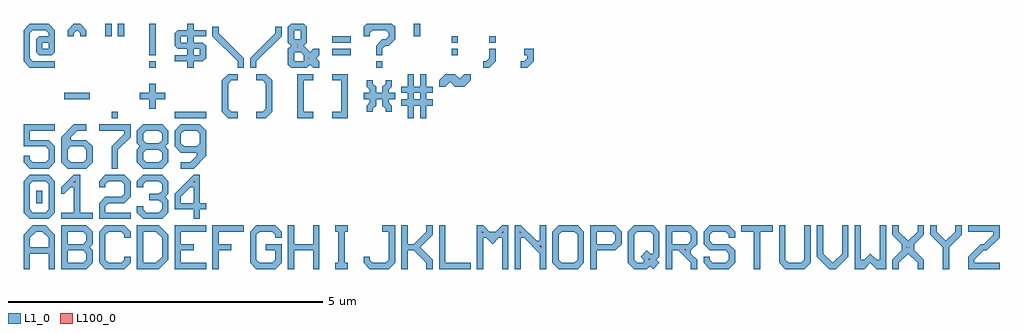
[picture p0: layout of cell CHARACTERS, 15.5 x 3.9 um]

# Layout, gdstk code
import gdstk
lib = gdstk.Library(unit=1e-6, precision=1e-09)
def R(c, l, rs):  # rectangles x0, y0, x1, y1
    for r in rs: c.add(gdstk.rectangle(r[:2], r[2:], *l))
def P(c, l, *ps):  # polygons
    for p in ps: c.add(gdstk.Polygon(p, *l))
L1_0 = (1, 0)
L100_0 = (100, 0)

c_0 = lib.new_cell('0')
R(c_0, L1_0, [(0.2,0.25,0.3,0.45)])
P(c_0, L1_0, [(0.1,0),(0,0.1),(0,0.6),(0.1,0.7),(0.4,0.7),(0.5,0.6),(0.15,0.6),(0.1,0.55),(0.1,0.15),(0.15,0.1),(0.35,0.1),(0.4,0.15),(0.4,0.55),(0.35,0.6),(0.5,0.6),(0.5,0.1),(0.4,0)])

c_8 = lib.new_cell('8')
P(c_8, L1_0, [(0.1,0),(0,0.1),(0,0.3),(0.05,0.35),(0,0.4),(0,0.6),(0.1,0.7),(0.4,0.7),(0.5,0.6),(0.15,0.6),(0.1,0.55),(0.1,0.45),(0.15,0.4),(0.35,0.4),(0.4,0.45),(0.4,0.55),(0.35,0.6),(0.5,0.6),(0.5,0.4),(0.45,0.35),(0.5,0.3),(0.15,0.3),(0.1,0.25),(0.1,0.15),(0.15,0.1),(0.35,0.1),(0.4,0.15),(0.4,0.25),(0.35,0.3),(0.5,0.3),(0.5,0.1),(0.4,0)])

c_5 = lib.new_cell('5')
P(c_5, L1_0, [(0.1,0),(0,0.1),(0,0.2),(0.1,0.2),(0.1,0.15),(0.15,0.1),(0.35,0.1),(0.4,0.15),(0.4,0.3),(0.35,0.35),(0,0.35),(0,0.7),(0.5,0.7),(0.5,0.6),(0.1,0.6),(0.1,0.45),(0.4,0.45),(0.5,0.35),(0.5,0.1),(0.4,0)])

c_2 = lib.new_cell('2')
P(c_2, L1_0, [(0,0),(0,0.25),(0.1,0.35),(0.35,0.35),(0.4,0.4),(0.4,0.55),(0.35,0.6),(0.15,0.6),(0.1,0.55),(0.1,0.5),(0,0.5),(0,0.6),(0.1,0.7),(0.4,0.7),(0.5,0.6),(0.5,0.35),(0.4,0.25),(0.15,0.25),(0.1,0.2),(0.1,0.1),(0.5,0.1),(0.5,0)])

c_y = lib.new_cell('Y')
P(c_y, L1_0, [(0.2,0),(0.2,0.35),(0,0.55),(0,0.7),(0.1,0.7),(0.1,0.6),(0.25,0.45),(0.4,0.6),(0.4,0.7),(0.5,0.7),(0.5,0.55),(0.3,0.35),(0.3,0)])

c_v = lib.new_cell('V')
P(c_v, L1_0, [(0.2,0),(0,0.2),(0,0.7),(0.1,0.7),(0.1,0.25),(0.25,0.1),(0.4,0.25),(0.4,0.7),(0.5,0.7),(0.5,0.2),(0.3,0)])

c_s = lib.new_cell('S')
P(c_s, L1_0, [(0.1,0),(0,0.1),(0,0.2),(0.1,0.2),(0.1,0.15),(0.15,0.1),(0.35,0.1),(0.4,0.15),(0.4,0.25),(0.35,0.3),(0.1,0.3),(0,0.4),(0,0.6),(0.1,0.7),(0.4,0.7),(0.5,0.6),(0.5,0.5),(0.4,0.5),(0.4,0.55),(0.35,0.6),(0.15,0.6),(0.1,0.55),(0.1,0.45),(0.15,0.4),(0.4,0.4),(0.5,0.3),(0.5,0.1),(0.4,0)])

c_p = lib.new_cell('P')
P(c_p, L1_0, [(0,0),(0,0.7),(0.4,0.7),(0.5,0.6),(0.5,0.4),(0.4,0.3),(0.1,0.3),(0.1,0.4),(0.35,0.4),(0.4,0.45),(0.4,0.55),(0.35,0.6),(0.1,0.6),(0.1,0)])

c_m = lib.new_cell('M')
P(c_m, L1_0, [(0,0),(0,0.7),(0.1,0.7),(0.2,0.6),(0.3,0.6),(0.4,0.7),(0.5,0.7),(0.5,0),(0.4,0),(0.4,0.5),(0.35,0.5),(0.25,0.4),(0.15,0.5),(0.1,0.5),(0.1,0)])

c_j = lib.new_cell('J')
P(c_j, L1_0, [(0.1,0),(0,0.1),(0,0.2),(0.1,0.2),(0.1,0.15),(0.15,0.1),(0.35,0.1),(0.4,0.15),(0.4,0.6),(0.3,0.6),(0.3,0.7),(0.5,0.7),(0.5,0.1),(0.4,0)])

c_c = lib.new_cell('C')
P(c_c, L1_0, [(0.1,0),(0,0.1),(0,0.6),(0.1,0.7),(0.4,0.7),(0.5,0.6),(0.5,0.5),(0.4,0.5),(0.4,0.55),(0.35,0.6),(0.15,0.6),(0.1,0.55),(0.1,0.15),(0.15,0.1),(0.35,0.1),(0.4,0.15),(0.4,0.2),(0.5,0.2),(0.5,0.1),(0.4,0)])

c_f = lib.new_cell('F')
P(c_f, L1_0, [(0,0),(0,0.7),(0.5,0.7),(0.5,0.6),(0.1,0.6),(0.1,0.4),(0.3,0.4),(0.3,0.3),(0.1,0.3),(0.1,0)])

c_i = lib.new_cell('I')
P(c_i, L1_0, [(0.15,0),(0.15,0.1),(0.2,0.1),(0.2,0.6),(0.15,0.6),(0.15,0.7),(0.35,0.7),(0.35,0.6),(0.3,0.6),(0.3,0.1),(0.35,0.1),(0.35,0)])

c_9 = lib.new_cell('9')
P(c_9, L1_0, [(0.1,0),(0.1,0.1),(0.25,0.1),(0.35,0.2),(0.35,0.25),(0.1,0.25),(0,0.35),(0.35,0.35),(0.4,0.4),(0.4,0.55),(0.35,0.6),(0.15,0.6),(0.1,0.55),(0.1,0.4),(0.15,0.35),(0,0.35),(0,0.6),(0.1,0.7),(0.4,0.7),(0.5,0.6),(0.5,0.2),(0.3,0)])

c_6 = lib.new_cell('6')
P(c_6, L1_0, [(0.1,0),(0,0.1),(0,0.5),(0.2,0.7),(0.4,0.7),(0.4,0.6),(0.25,0.6),(0.15,0.5),(0.15,0.45),(0.4,0.45),(0.5,0.35),(0.15,0.35),(0.1,0.3),(0.1,0.15),(0.15,0.1),(0.35,0.1),(0.4,0.15),(0.4,0.3),(0.35,0.35),(0.5,0.35),(0.5,0.1),(0.4,0)])

c_3 = lib.new_cell('3')
P(c_3, L1_0, [(0.1,0),(0,0.1),(0,0.2),(0.1,0.2),(0.1,0.15),(0.15,0.1),(0.35,0.1),(0.4,0.15),(0.4,0.25),(0.35,0.3),(0.2,0.3),(0.2,0.4),(0.35,0.4),(0.4,0.45),(0.4,0.55),(0.35,0.6),(0.15,0.6),(0.1,0.55),(0.1,0.5),(0,0.5),(0,0.6),(0.1,0.7),(0.4,0.7),(0.5,0.6),(0.5,0.4),(0.45,0.35),(0.5,0.3),(0.5,0.1),(0.4,0)])

c_z = lib.new_cell('Z')
P(c_z, L1_0, [(0,0),(0,0.2),(0.2,0.4),(0.25,0.4),(0.4,0.55),(0.4,0.6),(0,0.6),(0,0.7),(0.5,0.7),(0.5,0.5),(0.3,0.3),(0.25,0.3),(0.1,0.15),(0.1,0.1),(0.5,0.1),(0.5,0)])

c_w = lib.new_cell('W')
P(c_w, L1_0, [(0,0),(0,0.7),(0.1,0.7),(0.1,0.15),(0.15,0.15),(0.25,0.25),(0.35,0.15),(0.4,0.15),(0.4,0.7),(0.5,0.7),(0.5,0),(0.35,0),(0.25,0.1),(0.15,0)])

c_t = lib.new_cell('T')
P(c_t, L1_0, [(0.2,0),(0.2,0.6),(0,0.6),(0,0.7),(0.5,0.7),(0.5,0.6),(0.3,0.6),(0.3,0)])

c_q = lib.new_cell('Q')
P(c_q, L1_0, [(0.1,0),(0,0.1),(0,0.6),(0.1,0.7),(0.4,0.7),(0.5,0.6),(0.15,0.6),(0.1,0.55),(0.1,0.15),(0.15,0.1),(0.25,0.1),(0.25,0.15),(0.2,0.2),(0.3,0.3),(0.35,0.25),(0.4,0.25),(0.4,0.55),(0.35,0.6),(0.5,0.6),(0.5,0.2),(0.45,0.15),(0.5,0.1),(0.4,0),(0.35,0.05),(0.3,0)])

c_n = lib.new_cell('N')
P(c_n, L1_0, [(0,0),(0,0.7),(0.1,0.7),(0.35,0.45),(0.4,0.45),(0.4,0.7),(0.5,0.7),(0.5,0),(0.4,0),(0.4,0.25),(0.15,0.5),(0.1,0.5),(0.1,0)])

c_k = lib.new_cell('K')
P(c_k, L1_0, [(0,0),(0,0.7),(0.1,0.7),(0.1,0.4),(0.2,0.4),(0.4,0.6),(0.4,0.7),(0.5,0.7),(0.5,0.55),(0.3,0.35),(0.5,0.15),(0.5,0),(0.4,0),(0.4,0.1),(0.2,0.3),(0.1,0.3),(0.1,0)])

c_b = lib.new_cell('B')
P(c_b, L1_0, [(0,0),(0,0.7),(0.4,0.7),(0.5,0.6),(0.1,0.6),(0.1,0.4),(0.35,0.4),(0.4,0.45),(0.4,0.55),(0.35,0.6),(0.5,0.6),(0.5,0.4),(0.45,0.35),(0.5,0.3),(0.1,0.3),(0.1,0.1),(0.35,0.1),(0.4,0.15),(0.4,0.25),(0.35,0.3),(0.5,0.3),(0.5,0.1),(0.4,0)])

c_e = lib.new_cell('E')
P(c_e, L1_0, [(0,0),(0,0.7),(0.5,0.7),(0.5,0.6),(0.1,0.6),(0.1,0.4),(0.3,0.4),(0.3,0.3),(0.1,0.3),(0.1,0.1),(0.5,0.1),(0.5,0)])

c_h = lib.new_cell('H')
P(c_h, L1_0, [(0,0),(0,0.7),(0.1,0.7),(0.1,0.4),(0.4,0.4),(0.4,0.7),(0.5,0.7),(0.5,0),(0.4,0),(0.4,0.3),(0.1,0.3),(0.1,0)])

c_7 = lib.new_cell('7')
P(c_7, L1_0, [(0.2,0),(0.2,0.35),(0.4,0.55),(0.4,0.6),(0,0.6),(0,0.7),(0.5,0.7),(0.5,0.5),(0.3,0.3),(0.3,0)])

c_4 = lib.new_cell('4')
P(c_4, L1_0, [(0.3,0),(0.3,0.15),(0,0.15),(0,0.25),(0.3,0.25),(0.3,0.5),(0.25,0.5),(0.1,0.35),(0.1,0.25),(0,0.25),(0,0.4),(0.3,0.7),(0.4,0.7),(0.4,0.25),(0.5,0.25),(0.5,0.15),(0.4,0.15),(0.4,0)])

c_1 = lib.new_cell('1')
P(c_1, L1_0, [(0,0),(0,0.1),(0.2,0.1),(0.2,0.5),(0.15,0.5),(0.05,0.4),(0,0.4),(0,0.5),(0.2,0.7),(0.3,0.7),(0.3,0.1),(0.5,0.1),(0.5,0)])

c_x = lib.new_cell('X')
P(c_x, L1_0, [(0,0),(0,0.15),(0.15,0.3),(0.15,0.4),(0,0.55),(0,0.7),(0.1,0.7),(0.1,0.6),(0.25,0.45),(0.4,0.6),(0.4,0.7),(0.5,0.7),(0.5,0.55),(0.35,0.4),(0.35,0.3),(0.5,0.15),(0.5,0),(0.4,0),(0.4,0.1),(0.25,0.25),(0.1,0.1),(0.1,0)])

c_u = lib.new_cell('U')
P(c_u, L1_0, [(0.1,0),(0,0.1),(0,0.7),(0.1,0.7),(0.1,0.15),(0.15,0.1),(0.35,0.1),(0.4,0.15),(0.4,0.7),(0.5,0.7),(0.5,0.1),(0.4,0)])

c_r = lib.new_cell('R')
P(c_r, L1_0, [(0,0),(0,0.7),(0.4,0.7),(0.5,0.6),(0.1,0.6),(0.1,0.4),(0.35,0.4),(0.4,0.45),(0.4,0.55),(0.35,0.6),(0.5,0.6),(0.5,0.4),(0.4,0.3),(0.4,0.25),(0.5,0.15),(0.5,0),(0.4,0),(0.4,0.1),(0.2,0.3),(0.1,0.3),(0.1,0)])

c_o = lib.new_cell('O')
P(c_o, L1_0, [(0.1,0),(0,0.1),(0,0.6),(0.1,0.7),(0.4,0.7),(0.5,0.6),(0.5,0.35),(0.4,0.35),(0.4,0.55),(0.35,0.6),(0.15,0.6),(0.1,0.55),(0.1,0.15),(0.15,0.1),(0.35,0.1),(0.4,0.15),(0.4,0.35),(0.5,0.35),(0.5,0.1),(0.4,0)])

c_l = lib.new_cell('L')
P(c_l, L1_0, [(0,0),(0,0.7),(0.1,0.7),(0.1,0.1),(0.5,0.1),(0.5,0)])

c_a = lib.new_cell('A')
P(c_a, L1_0, [(0,0),(0,0.55),(0.15,0.7),(0.35,0.7),(0.45,0.6),(0.2,0.6),(0.1,0.5),(0.1,0.35),(0.4,0.35),(0.4,0.5),(0.3,0.6),(0.45,0.6),(0.5,0.55),(0.5,0),(0.4,0),(0.4,0.25),(0.1,0.25),(0.1,0)])

c_d = lib.new_cell('D')
P(c_d, L1_0, [(0,0),(0,0.7),(0.35,0.7),(0.45,0.6),(0.1,0.6),(0.1,0.1),(0.3,0.1),(0.4,0.2),(0.4,0.5),(0.3,0.6),(0.45,0.6),(0.5,0.55),(0.5,0.15),(0.35,0)])

c_g = lib.new_cell('G')
P(c_g, L1_0, [(0.1,0),(0,0.1),(0,0.6),(0.1,0.7),(0.4,0.7),(0.5,0.6),(0.5,0.5),(0.4,0.5),(0.4,0.55),(0.35,0.6),(0.15,0.6),(0.1,0.55),(0.1,0.15),(0.15,0.1),(0.35,0.1),(0.4,0.15),(0.4,0.3),(0.25,0.3),(0.25,0.4),(0.5,0.4),(0.5,0.1),(0.4,0)])

characters = lib.new_cell('CHARACTERS')
R(characters, L1_0, [(1.4,2.4,1.5,2.5), (2.4,2.4,2.9,2.5), (0.65,2.7,1.05,2.8), (2,3.2,2.1,3.3), (5.6,3.2,5.7,3.3), (2,3.4,2.1,3.9), (4.9,3.4,5.2,3.5), (6.8,3.4,6.9,3.5), (4.9,3.6,5.2,3.7), (6.8,3.6,6.9,3.7), (7.4,3.6,7.5,3.7), (1.3,3.7,1.4,3.9), (1.5,3.7,1.6,3.9), (6.2,3.7,6.3,3.9)])
P(characters, L1_0, [(3.6,3.2),(3.6,3.35),(4,3.75),(4,3.85),(4.1,3.85),(4.1,3.7),(3.7,3.3),(3.7,3.2)],
  [(6.1,2.4),(6.1,2.6),(6,2.6),(6,2.7),(6.1,2.7),(6.1,2.8),(6,2.8),(6,2.9),(6.1,2.9),(6.1,3.1),(6.2,3.1),(6.2,2.9),(6.3,2.9),(6.3,3.1),(6.4,3.1),(6.4,2.9),(6.5,2.9),(6.5,2.8),(6.4,2.8),(6.4,2.7),(6.5,2.7),(6.5,2.6),(6.4,2.6),(6.4,2.4),(6.3,2.4),(6.3,2.8),(6.2,2.8),(6.2,2.7),(6.3,2.7),(6.3,2.6),(6.2,2.6),(6.2,2.4)],
  [(7.9,3.2),(7.9,3.3),(7.95,3.3),(8,3.35),(8,3.4),(7.95,3.4),(7.95,3.5),(8.1,3.5),(8.1,3.3),(8,3.2)],
  [(6.6,2.9),(6.6,3),(6.7,3.1),(6.85,3.1),(6.925,3.025),(7,3.1),(7.1,3.1),(7.1,3),(7,2.9),(6.85,2.9),(6.775,2.975),(6.7,2.9)],
  [(3.4,3.2),(3.4,3.3),(3,3.7),(3,3.85),(3.1,3.85),(3.1,3.75),(3.5,3.35),(3.5,3.2)],
  [(5.6,3.4),(5.6,3.55),(5.7,3.65),(5.75,3.65),(5.8,3.7),(5.8,3.75),(5.75,3.8),(5.55,3.8),(5.5,3.75),(5.5,3.7),(5.4,3.7),(5.4,3.85),(5.45,3.9),(5.85,3.9),(5.9,3.85),(5.9,3.65),(5.8,3.55),(5.75,3.55),(5.7,3.5),(5.7,3.4)],
  [(5.45,2.5),(5.45,2.6),(5.5,2.65),(5.5,2.7),(5.4,2.7),(5.4,2.8),(5.5,2.8),(5.5,2.85),(5.45,2.9),(5.45,3),(5.55,3),(5.55,2.95),(5.6,2.9),(5.6,2.8),(5.7,2.8),(5.7,2.9),(5.75,2.95),(5.75,3),(5.85,3),(5.85,2.9),(5.8,2.85),(5.8,2.8),(5.9,2.8),(5.9,2.7),(5.8,2.7),(5.8,2.65),(5.85,2.6),(5.85,2.5),(5.75,2.5),(5.75,2.55),(5.7,2.6),(5.7,2.7),(5.6,2.7),(5.6,2.6),(5.55,2.55),(5.55,2.5)],
  [(2,2.55),(2,2.7),(1.85,2.7),(1.85,2.8),(2,2.8),(2,2.95),(2.1,2.95),(2.1,2.8),(2.25,2.8),(2.25,2.7),(2.1,2.7),(2.1,2.55)],
  [(4.25,3.2),(4.2,3.25),(4.2,3.5),(4.25,3.55),(4.2,3.6),(4.2,3.85),(4.25,3.9),(4.45,3.9),(4.5,3.85),(4.5,3.8),(4.3,3.8),(4.3,3.65),(4.4,3.65),(4.4,3.8),(4.5,3.8),(4.5,3.6),(4.45,3.55),(4.55,3.45),(4.6,3.5),(4.7,3.5),(4.7,3.45),(4.3,3.45),(4.3,3.3),(4.45,3.3),(4.45,3.4),(4.4,3.45),(4.7,3.45),(4.7,3.4),(4.65,3.35),(4.7,3.3),(4.7,3.2),(4.6,3.2),(4.55,3.25),(4.5,3.2)],
  [(2.6,3.2),(2.6,3.3),(2.4,3.3),(2.4,3.4),(2.6,3.4),(2.6,3.5),(2.45,3.5),(2.4,3.55),(2.4,3.75),(2.45,3.8),(2.6,3.8),(2.6,3.9),(2.7,3.9),(2.7,3.8),(2.9,3.8),(2.9,3.7),(2.5,3.7),(2.5,3.6),(2.6,3.6),(2.6,3.7),(2.7,3.7),(2.7,3.6),(2.85,3.6),(2.9,3.55),(2.9,3.5),(2.7,3.5),(2.7,3.4),(2.8,3.4),(2.8,3.5),(2.9,3.5),(2.9,3.35),(2.85,3.3),(2.7,3.3),(2.7,3.2)],
  [(0.7,3.7),(0.7,3.8),(0.8,3.9),(0.9,3.9),(1,3.8),(1,3.7),(0.9,3.7),(0.9,3.75),(0.85,3.8),(0.8,3.75),(0.8,3.7)],
  [(0.1,3.2),(0,3.3),(0,3.8),(0.1,3.9),(0.4,3.9),(0.5,3.8),(0.5,3.5),(0.4,3.5),(0.4,3.6),(0.3,3.6),(0.3,3.5),(0.5,3.5),(0.5,3.45),(0.45,3.4),(0.25,3.4),(0.2,3.45),(0.2,3.65),(0.25,3.7),(0.4,3.7),(0.4,3.75),(0.35,3.8),(0.15,3.8),(0.1,3.75),(0.1,3.35),(0.15,3.3),(0.5,3.3),(0.5,3.2)],
  [(7.3,3.2),(7.3,3.3),(7.35,3.3),(7.4,3.35),(7.4,3.5),(7.5,3.5),(7.5,3.3),(7.4,3.2)],
  [(3.25,2.4),(3.15,2.5),(3.15,3),(3.25,3.1),(3.4,3.1),(3.4,3),(3.3,3),(3.25,2.95),(3.25,2.55),(3.3,2.5),(3.4,2.5),(3.4,2.4)],
  [(4.9,2.4),(4.9,2.5),(5.05,2.5),(5.05,3),(4.9,3),(4.9,3.1),(5.15,3.1),(5.15,2.4)],
  [(3.7,2.4),(3.7,2.5),(3.8,2.5),(3.85,2.55),(3.85,2.95),(3.8,3),(3.7,3),(3.7,3.1),(3.85,3.1),(3.95,3),(3.95,2.5),(3.85,2.4)],
  [(4.35,2.4),(4.35,3.1),(4.6,3.1),(4.6,3),(4.45,3),(4.45,2.5),(4.6,2.5),(4.6,2.4)])
P(characters, L100_0, [(7.594,0.58),(7.62,0.606),(7.62,0.58)],
  [(0.794,1.38),(0.82,1.406),(0.82,1.38)],
  [(2.694,1.38),(2.72,1.406),(2.72,1.38)],
  [(4.344,3.53),(4.35,3.536),(4.356,3.53)],
  [(7.45,0.514),(7.444,0.52),(7.456,0.52)],
  [(4.35,3.564),(4.344,3.57),(4.356,3.57)],
  [(14.03,0.344),(14.03,0.356),(14.036,0.35)],
  [(4.53,3.344),(4.53,3.356),(4.536,3.35)],
  [(10.52,0.294),(10.494,0.32),(10.52,0.32)],
  [(8.22,0.344),(8.194,0.37),(8.22,0.37)],
  [(7.28,0.58),(7.28,0.606),(7.306,0.58)],
  [(7.88,0.58),(7.88,0.606),(7.906,0.58)],
  [(9.93,0.144),(9.93,0.17),(9.956,0.17)],
  [(14.07,0.344),(14.064,0.35),(14.07,0.356)])
characters.add(gdstk.Reference(c_0, (0,0.8)))
characters.add(gdstk.Reference(c_8, (1.8,1.6)))
characters.add(gdstk.Reference(c_5, (0,1.6)))
characters.add(gdstk.Reference(c_2, (1.2,0.8)))
characters.add(gdstk.Reference(c_y, (14.4,0)))
characters.add(gdstk.Reference(c_v, (12.6,0)))
characters.add(gdstk.Reference(c_s, (10.8,0)))
characters.add(gdstk.Reference(c_p, (9,0)))
characters.add(gdstk.Reference(c_m, (7.2,0)))
characters.add(gdstk.Reference(c_j, (5.4,0)))
characters.add(gdstk.Reference(c_c, (1.2,0)))
characters.add(gdstk.Reference(c_f, (3,0)))
characters.add(gdstk.Reference(c_i, (4.8,0)))
characters.add(gdstk.Reference(c_9, (2.4,1.6)))
characters.add(gdstk.Reference(c_6, (0.6,1.6)))
characters.add(gdstk.Reference(c_3, (1.8,0.8)))
characters.add(gdstk.Reference(c_z, (15,0)))
characters.add(gdstk.Reference(c_w, (13.2,0)))
characters.add(gdstk.Reference(c_t, (11.4,0)))
characters.add(gdstk.Reference(c_q, (9.6,0)))
characters.add(gdstk.Reference(c_n, (7.8,0)))
characters.add(gdstk.Reference(c_k, (6,0)))
characters.add(gdstk.Reference(c_b, (0.6,0)))
characters.add(gdstk.Reference(c_e, (2.4,0)))
characters.add(gdstk.Reference(c_h, (4.2,0)))
characters.add(gdstk.Reference(c_7, (1.2,1.6)))
characters.add(gdstk.Reference(c_4, (2.4,0.8)))
characters.add(gdstk.Reference(c_1, (0.6,0.8)))
characters.add(gdstk.Reference(c_x, (13.8,0)))
characters.add(gdstk.Reference(c_u, (12,0)))
characters.add(gdstk.Reference(c_r, (10.2,0)))
characters.add(gdstk.Reference(c_o, (8.4,0)))
characters.add(gdstk.Reference(c_l, (6.6,0)))
characters.add(gdstk.Reference(c_a, (0,0)))
characters.add(gdstk.Reference(c_d, (1.8,0)))
characters.add(gdstk.Reference(c_g, (3.6,0)))

lib.write_gds('CHARACTERS.gds')
